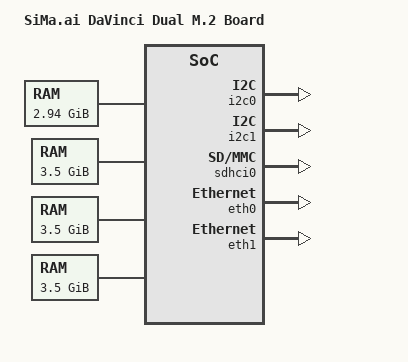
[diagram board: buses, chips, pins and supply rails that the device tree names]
// SPDX-License-Identifier: (GPL-2.0+ OR MIT)
/*
 * Copyright (c) 2023 SiMa ai
 */

/dts-v1/;

#include "davinci-h.dtsi"


/ {
	model = "SiMa.ai DaVinci Dual M.2 Board";

	chosen {
		bootargs = "console=ttyS0,115200n8 root=/dev/ram0 rw rootfstype=ramfs";
	};

	aliases {
		ethernet0 = &eth0;
		ethernet1 = &eth1;
		console   = &uart0;
		mmc0 = &sdhci0;
	};
    
	// DMS: hw interleave enabled - flat 14GB + 2GB ECC
	//fisrt 0.5GB left for 32-bit cores ie EV74, EM4, M4 etc
	//Enable following node if hw interleave enabled.
	
	//memory@80000000 {
		//device_type = "memory";
		//reg = <0x0 0xA0000000 0x3 0x60000000>;
	//};

	//Enable following node(s) if hw interleave disabled.
	//DMS0-3, 3.5GB each with 0.5GB hole in between.
	//fisrt 0.5GB left for 32-bit cores ie EV74, EM4, M4 etc 
	memory@80000000 {
		device_type = "memory";
		reg = <0x0 0xA4000000 0x0 0xBC000000>;
	};
	
 	//DMS1: 3.5GB
	memory@180000000 {
		device_type = "memory";
		reg = <0x1 0x80000000 0x0 0xE0000000>;
	};
    
	//DMS2: 3.5GB
	memory@280000000 {
		device_type = "memory";
		reg = <0x2 0x80000000 0x0 0xE0000000>;
	};
    
	//DMS3: 3.5GB
	memory@380000000 {
		device_type = "memory";
		reg = <0x3 0x80000000 0x0 0xE0000000>;
	};	
};

&i2c0 {
	status = "okay";
};

&i2c1 {
	status = "okay";
};

&sdhci0 {
	clock-frequency = <50000000>;
	status = "okay";
};

&eth0 {
	status = "okay";
};

&eth1 {
	status = "okay";
};

&pcie_ep {
	status = "okay";
};

